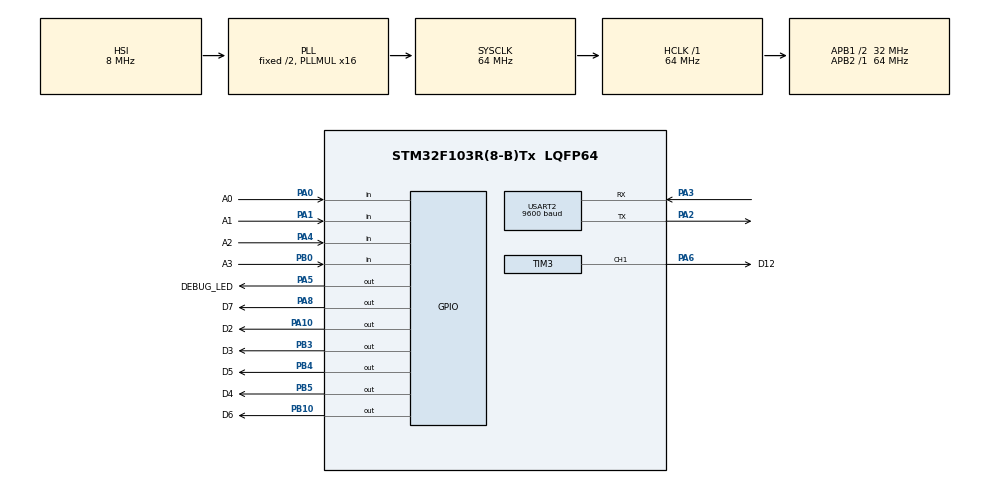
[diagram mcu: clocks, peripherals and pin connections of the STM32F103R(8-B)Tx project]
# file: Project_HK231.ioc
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Mcu.Family=STM32F1
Mcu.Name=STM32F103R(8-B)Tx
Mcu.Package=LQFP64
NVIC.PriorityGroup=NVIC_PRIORITYGROUP_4
NVIC.TIM2_IRQn=true\:0\:0\:false\:false\:true\:true\:true
NVIC.TIM3_IRQn=true\:0\:0\:false\:false\:true\:true\:true
NVIC.USART2_IRQn=true\:0\:0\:false\:false\:true\:true\:true
PA0-WKUP.GPIO_Label=A0
PA0-WKUP.GPIO_PuPd=GPIO_PULLUP
PA0-WKUP.Signal=GPIO_Input
PA1.GPIO_Label=A1
PA1.GPIO_PuPd=GPIO_PULLUP
PA1.Signal=GPIO_Input
PA10.GPIO_Label=D2
PA10.Signal=GPIO_Output
PA13.Mode=Serial_Wire
PA13.Signal=SYS_JTMS-SWDIO
PA14.Mode=Serial_Wire
PA14.Signal=SYS_JTCK-SWCLK
PA2.Mode=Asynchronous
PA2.Signal=USART2_TX
PA3.Mode=Asynchronous
PA3.Signal=USART2_RX
PA4.GPIO_Label=A2
PA4.GPIO_PuPd=GPIO_PULLUP
PA4.Signal=GPIO_Input
PA5.GPIO_Label=DEBUG_LED
PA5.Signal=GPIO_Output
PA6.GPIO_Label=D12
PA6.Signal=S_TIM3_CH1
PA8.GPIO_Label=D7
PA8.Signal=GPIO_Output
PB0.GPIO_Label=A3
PB0.GPIO_PuPd=GPIO_PULLUP
PB0.Signal=GPIO_Input
PB10.GPIO_Label=D6
PB10.Signal=GPIO_Output
PB3.GPIO_Label=D3
PB3.Signal=GPIO_Output
PB4.GPIO_Label=D5
PB4.Signal=GPIO_Output
PB5.GPIO_Label=D4
PB5.Signal=GPIO_Output
ProjectManager.HeapSize=0x200
ProjectManager.StackSize=0x400
ProjectManager.TargetToolchain=STM32CubeIDE
RCC.AHBFreq_Value=64000000
RCC.APB1CLKDivider=RCC_HCLK_DIV2
RCC.APB1Freq_Value=32000000
RCC.APB1TimFreq_Value=64000000
RCC.APB2Freq_Value=64000000
RCC.APB2TimFreq_Value=64000000
RCC.HCLKFreq_Value=64000000
RCC.PLLMUL=RCC_PLL_MUL16
RCC.SYSCLKFreq_VALUE=64000000
RCC.SYSCLKSource=RCC_SYSCLKSOURCE_PLLCLK
RCC.USBFreq_Value=64000000
SH.S_TIM3_CH1.0=TIM3_CH1,PWM Generation1 CH1
TIM2.Period=9
TIM2.Prescaler=6399
TIM3.Channel-PWM\ Generation1\ CH1=TIM_CHANNEL_1
TIM3.Period=9
TIM3.Prescaler=63
USART2.BaudRate=9600
USART2.VirtualMode=VM_ASYNC
VP_TIM2_VS_ClockSourceINT.Mode=Internal
VP_TIM3_VS_ClockSourceINT.Mode=Internal
board=custom

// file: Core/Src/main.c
/* USER CODE BEGIN Header */
/**
  ******************************************************************************
  * @file           : main.c
  * @brief          : Main program body
  ******************************************************************************
  * @attention
  *
  * <h2><center>&copy; Copyright (c) 2023 STMicroelectronics.
  * All rights reserved.</center></h2>
  *
  * This software component is licensed by ST under BSD 3-Clause license,
  * the "License"; You may not use this file except in compliance with the
  * License. You may obtain a copy of the License at:
  *                        opensource.org/licenses/BSD-3-Clause
  *
  ******************************************************************************
  */
/* USER CODE END Header */
#include "main.h"

/* USER CODE BEGIN Includes */
#include "auto_fsm.h"
#include "tuning_fsm.h"
#include "manual_fsm.h"
#include "pedestrian_fsm.h"
//#include "Scheduler.h"
#include "global.h"
/* USER CODE END Includes */

TIM_HandleTypeDef htim2;
TIM_HandleTypeDef htim3;

UART_HandleTypeDef huart2;

void SystemClock_Config(void);
static void MX_GPIO_Init(void);
static void MX_TIM2_Init(void);
static void MX_TIM3_Init(void);
static void MX_USART2_UART_Init(void);

/* USER CODE BEGIN 0 */
void system_init(){
//	SCH_Init();
	setAutoLightTimer(100);
	setButtonCooldownTimer(100);
	setAutoIncTimer(100);
	setTuningLightTimer(100);
	setBuzzerStateTimer(100);
}
//void* setAutoLightFlag(){
//	flag[1]=1;
//}
//void* setButtonCooldownFlag(){
//	flag[2]=1;
//}
//void* setManualLightFlag(){
//	flag[3]=1;
//}
//void* setAutoIncFlag(){
//	flag[4]=1;
//}
/* USER CODE END 0 */

int main(void)
{

  /* MCU Configuration--------------------------------------------------------*/

  /* Reset of all peripherals, Initializes the Flash interface and the Systick. */
  HAL_Init();

  /* Configure the system clock */
  SystemClock_Config();

  /* Initialize all configured peripherals */
  MX_GPIO_Init();
  MX_TIM2_Init();
  MX_TIM3_Init();
  MX_USART2_UART_Init();
  /* USER CODE BEGIN 2 */
  HAL_TIM_Base_Start_IT(&htim2);
  HAL_TIM_PWM_Start(&htim3, TIM_CHANNEL_1);
  system_init();
//  SCH_Add_Task(1, setAutoLightFlag, 100, 1000);
//  SCH_Add_Task(2, setButtonCooldownFlag, 100, 100);
//  SCH_Add_Task(3, setManualLightFlag, 100, 250);
//  SCH_Add_Task(4, setAutoIncFlag, 100, 500);
  /* USER CODE END 2 */

  /* Infinite loop */
  /* USER CODE BEGIN WHILE */
  while (1)
  {
	  auto_fsm();
	  tuning_fsm();
	  manual_fsm();
	  pedestrian_fsm();
//	  SCH_Dispatch_Tasks();
    /* USER CODE END WHILE */

  }
}

void SystemClock_Config(void)
{
  RCC_OscInitTypeDef RCC_OscInitStruct = {0};
  RCC_ClkInitTypeDef RCC_ClkInitStruct = {0};

  /** Initializes the RCC Oscillators according to the specified parameters
  * in the RCC_OscInitTypeDef structure.
  */
  RCC_OscInitStruct.OscillatorType = RCC_OSCILLATORTYPE_HSI;
  RCC_OscInitStruct.HSIState = RCC_HSI_ON;
  RCC_OscInitStruct.HSICalibrationValue = RCC_HSICALIBRATION_DEFAULT;
  RCC_OscInitStruct.PLL.PLLState = RCC_PLL_ON;
  RCC_OscInitStruct.PLL.PLLSource = RCC_PLLSOURCE_HSI_DIV2;
  RCC_OscInitStruct.PLL.PLLMUL = RCC_PLL_MUL16;
  if (HAL_RCC_OscConfig(&RCC_OscInitStruct) != HAL_OK)
  {
    Error_Handler();
  }
  /** Initializes the CPU, AHB and APB buses clocks
  */
  RCC_ClkInitStruct.ClockType = RCC_CLOCKTYPE_HCLK|RCC_CLOCKTYPE_SYSCLK
                              |RCC_CLOCKTYPE_PCLK1|RCC_CLOCKTYPE_PCLK2;
  RCC_ClkInitStruct.SYSCLKSource = RCC_SYSCLKSOURCE_PLLCLK;
  RCC_ClkInitStruct.AHBCLKDivider = RCC_SYSCLK_DIV1;
  RCC_ClkInitStruct.APB1CLKDivider = RCC_HCLK_DIV2;
  RCC_ClkInitStruct.APB2CLKDivider = RCC_HCLK_DIV1;

  if (HAL_RCC_ClockConfig(&RCC_ClkInitStruct, FLASH_LATENCY_2) != HAL_OK)
  {
    Error_Handler();
  }
}

static void MX_TIM2_Init(void)
{

  TIM_ClockConfigTypeDef sClockSourceConfig = {0};
  TIM_MasterConfigTypeDef sMasterConfig = {0};

  htim2.Instance = TIM2;
  htim2.Init.Prescaler = 6399;
  htim2.Init.CounterMode = TIM_COUNTERMODE_UP;
  htim2.Init.Period = 9;
  htim2.Init.ClockDivision = TIM_CLOCKDIVISION_DIV1;
  htim2.Init.AutoReloadPreload = TIM_AUTORELOAD_PRELOAD_DISABLE;
  if (HAL_TIM_Base_Init(&htim2) != HAL_OK)
  {
    Error_Handler();
  }
  sClockSourceConfig.ClockSource = TIM_CLOCKSOURCE_INTERNAL;
  if (HAL_TIM_ConfigClockSource(&htim2, &sClockSourceConfig) != HAL_OK)
  {
    Error_Handler();
  }
  sMasterConfig.MasterOutputTrigger = TIM_TRGO_RESET;
  sMasterConfig.MasterSlaveMode = TIM_MASTERSLAVEMODE_DISABLE;
  if (HAL_TIMEx_MasterConfigSynchronization(&htim2, &sMasterConfig) != HAL_OK)
  {
    Error_Handler();
  }

}

static void MX_TIM3_Init(void)
{

  TIM_ClockConfigTypeDef sClockSourceConfig = {0};
  TIM_MasterConfigTypeDef sMasterConfig = {0};
  TIM_OC_InitTypeDef sConfigOC = {0};

  htim3.Instance = TIM3;
  htim3.Init.Prescaler = 63;
  htim3.Init.CounterMode = TIM_COUNTERMODE_UP;
  htim3.Init.Period = 9;
  htim3.Init.ClockDivision = TIM_CLOCKDIVISION_DIV1;
  htim3.Init.AutoReloadPreload = TIM_AUTORELOAD_PRELOAD_DISABLE;
  if (HAL_TIM_Base_Init(&htim3) != HAL_OK)
  {
    Error_Handler();
  }
  sClockSourceConfig.ClockSource = TIM_CLOCKSOURCE_INTERNAL;
  if (HAL_TIM_ConfigClockSource(&htim3, &sClockSourceConfig) != HAL_OK)
  {
    Error_Handler();
  }
  if (HAL_TIM_PWM_Init(&htim3) != HAL_OK)
  {
    Error_Handler();
  }
  sMasterConfig.MasterOutputTrigger = TIM_TRGO_RESET;
  sMasterConfig.MasterSlaveMode = TIM_MASTERSLAVEMODE_DISABLE;
  if (HAL_TIMEx_MasterConfigSynchronization(&htim3, &sMasterConfig) != HAL_OK)
  {
    Error_Handler();
  }
  sConfigOC.OCMode = TIM_OCMODE_PWM1;
  sConfigOC.Pulse = 0;
  sConfigOC.OCPolarity = TIM_OCPOLARITY_HIGH;
  sConfigOC.OCFastMode = TIM_OCFAST_DISABLE;
  if (HAL_TIM_PWM_ConfigChannel(&htim3, &sConfigOC, TIM_CHANNEL_1) != HAL_OK)
  {
    Error_Handler();
  }
  HAL_TIM_MspPostInit(&htim3);

}

static void MX_USART2_UART_Init(void)
{

  huart2.Instance = USART2;
  huart2.Init.BaudRate = 9600;
  huart2.Init.WordLength = UART_WORDLENGTH_8B;
  huart2.Init.StopBits = UART_STOPBITS_1;
  huart2.Init.Parity = UART_PARITY_NONE;
  huart2.Init.Mode = UART_MODE_TX_RX;
  huart2.Init.HwFlowCtl = UART_HWCONTROL_NONE;
  huart2.Init.OverSampling = UART_OVERSAMPLING_16;
  if (HAL_UART_Init(&huart2) != HAL_OK)
  {
    Error_Handler();
  }

}

static void MX_GPIO_Init(void)
{
  GPIO_InitTypeDef GPIO_InitStruct = {0};

  /* GPIO Ports Clock Enable */
  __HAL_RCC_GPIOA_CLK_ENABLE();
  __HAL_RCC_GPIOB_CLK_ENABLE();

  /*Configure GPIO pin Output Level */
  HAL_GPIO_WritePin(GPIOA, DEBUG_LED_Pin|D7_Pin|D2_Pin, GPIO_PIN_RESET);

  /*Configure GPIO pin Output Level */
  HAL_GPIO_WritePin(GPIOB, D6_Pin|D3_Pin|D5_Pin|D4_Pin, GPIO_PIN_RESET);

  /*Configure GPIO pins : A0_Pin A1_Pin A2_Pin */
  GPIO_InitStruct.Pin = A0_Pin|A1_Pin|A2_Pin;
  GPIO_InitStruct.Mode = GPIO_MODE_INPUT;
  GPIO_InitStruct.Pull = GPIO_PULLUP;
  HAL_GPIO_Init(GPIOA, &GPIO_InitStruct);

  /*Configure GPIO pins : DEBUG_LED_Pin D7_Pin D2_Pin */
  GPIO_InitStruct.Pin = DEBUG_LED_Pin|D7_Pin|D2_Pin;
  GPIO_InitStruct.Mode = GPIO_MODE_OUTPUT_PP;
  GPIO_InitStruct.Pull = GPIO_NOPULL;
  GPIO_InitStruct.Speed = GPIO_SPEED_FREQ_LOW;
  HAL_GPIO_Init(GPIOA, &GPIO_InitStruct);

  /*Configure GPIO pin : A3_Pin */
  GPIO_InitStruct.Pin = A3_Pin;
  GPIO_InitStruct.Mode = GPIO_MODE_INPUT;
  GPIO_InitStruct.Pull = GPIO_PULLUP;
  HAL_GPIO_Init(A3_GPIO_Port, &GPIO_InitStruct);

  /*Configure GPIO pins : D6_Pin D3_Pin D5_Pin D4_Pin */
  GPIO_InitStruct.Pin = D6_Pin|D3_Pin|D5_Pin|D4_Pin;
  GPIO_InitStruct.Mode = GPIO_MODE_OUTPUT_PP;
  GPIO_InitStruct.Pull = GPIO_NOPULL;
  GPIO_InitStruct.Speed = GPIO_SPEED_FREQ_LOW;
  HAL_GPIO_Init(GPIOB, &GPIO_InitStruct);

}

/* USER CODE BEGIN 4 */
void HAL_TIM_PeriodElapsedCallback(TIM_HandleTypeDef *htim){
	if(htim->Instance == TIM2){
		button_reading();
//		SCH_Update();
		timerRun();
	}
}
/* USER CODE END 4 */

void Error_Handler(void)
{
  __disable_irq();
  while (1)
  {
  }
}

/************************ (C) COPYRIGHT STMicroelectronics *****END OF FILE****/
